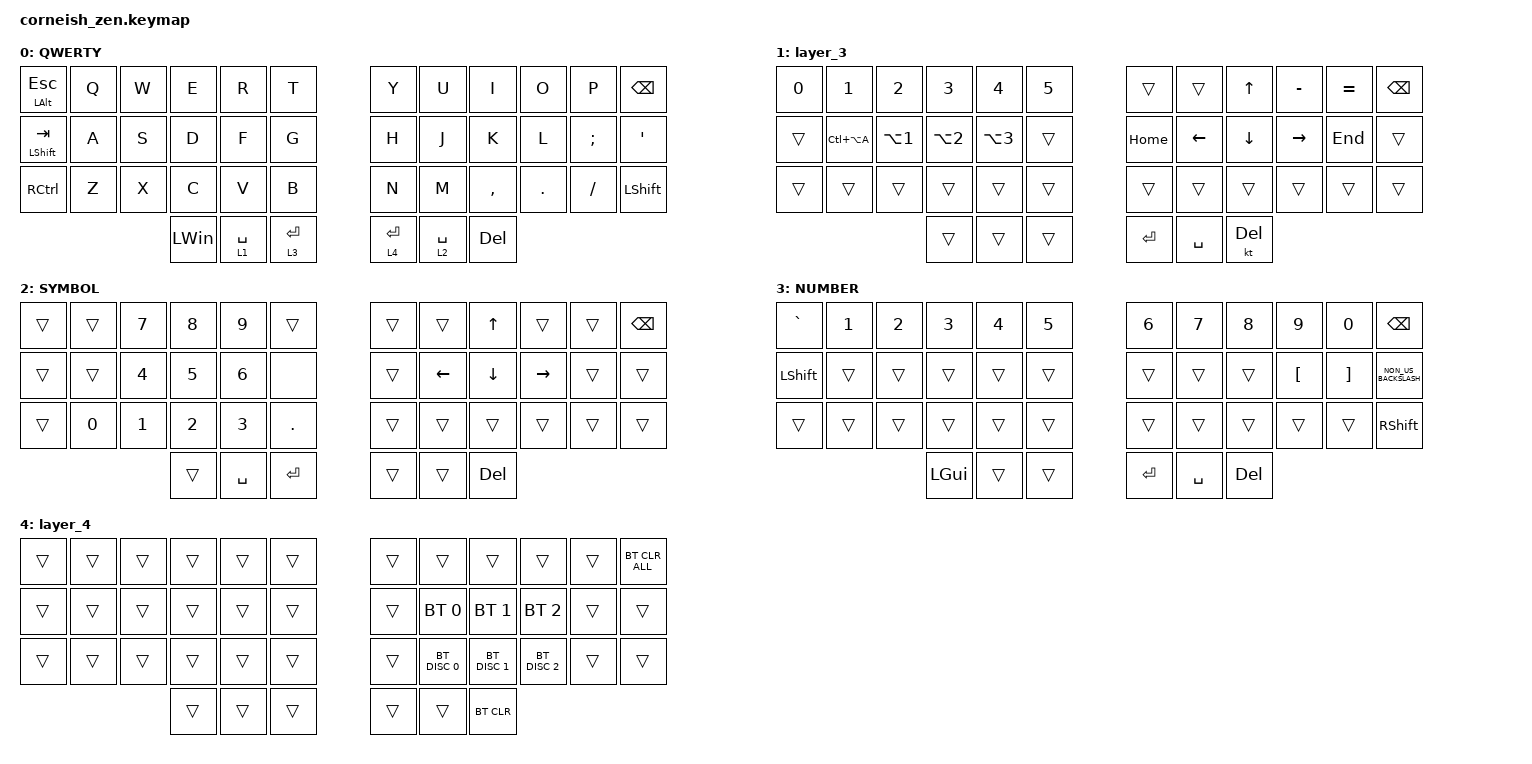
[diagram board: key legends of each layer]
/*
*
* Copyright (c) 2021 Darryl deHaan
* SPDX-License-Identifier: MIT
*
*/

#include <behaviors.dtsi>
#include <dt-bindings/zmk/bt.h>
#include <dt-bindings/zmk/keys.h>
#include <dt-bindings/zmk/keys.h>

/ {
    chosen {
        zmk,matrix_transform = &default_transform;

        // zmk,matrix_transform = &five_column_transform;
    };
};

/ {
    keymap {
        compatible = "zmk,keymap";

        default_layer {
            display-name = "QWERTY";

            // --------------------------------------------------------------------------------
            // |  TAB |  Q  |  W  |  E  |  R  |  T  |   |  Y  |  U   |  I  |  O  |  P  | BKSP |
            // | CTRL |  A  |  S  |  D  |  F  |  G  |   |  H  |  J   |  K  |  L  |  ;  |  '   |
            // | SHFT |  Z  |  X  |  C  |  V  |  B  |   |  N  |  M   |  ,  |  .  |  /  | ESC  |
            //                    | GUI | LWR | SPC |   | ENT | RSE  | ALT |

            bindings = <
&mt LEFT_ALT ESC    &kp Q  &kp W  &kp E         &kp R        &kp T          &kp Y        &kp U        &kp I      &kp O    &kp P     &kp BSPC
&mt LEFT_SHIFT TAB  &kp A  &kp S  &kp D         &kp F        &kp G          &kp H        &kp J        &kp K      &kp L    &kp SEMI  &kp SQT
&kp RCTRL           &kp Z  &kp X  &kp C         &kp V        &kp B          &kp N        &kp M        &kp COMMA  &kp DOT  &kp FSLH  &kp LEFT_SHIFT
                                  &kp LEFT_WIN  &lt 1 SPACE  &lt 3 ENTER    &lt 4 ENTER  &lt 2 SPACE  &kp DEL
            >;
        };

        layer_3 {
            bindings = <
&kp N0  &kp N1         &kp N2      &kp N3      &kp N4      &kp N5    &trans     &trans     &kp UP      &kp MINUS  &kp EQUAL  &kp BACKSPACE
&trans  &kp LC(LA(A))  &kp LA(N1)  &kp LA(N2)  &kp LA(N3)  &trans    &kp HOME   &kp LEFT   &kp DOWN    &kp RIGHT  &kp END    &trans
&trans  &trans         &trans      &trans      &trans      &trans    &trans     &trans     &trans      &trans     &trans     &trans
                                   &trans      &trans      &trans    &kp ENTER  &kp SPACE  &kt DELETE
            >;
        };

        raise_layer {
            display-name = "SYMBOL";

            // -----------------------------------------------------------------------------------------
            // |  TAB |  !  |  @  |  #  |  $  |  %  |   |  ^  |  &  |  *  |  (  |  )  | BKSP |
            // | CTRL |     |     |     |     |     |   |  -  |  =  |  [  |  ]  |  \  |  `   |
            // | SHFT |     |     |     |     |     |   |  _  |  +  |  {  |  }  | "|" |  ~   |
            //                    | GUI |     | SPC |   | ENT |     | ALT |

            bindings = <
&trans  &trans  &kp N7  &kp N8  &kp N9     &trans       &trans  &trans    &kp UP    &trans     &trans  &kp BACKSPACE
&trans  &trans  &kp N4  &kp N5  &kp N6     &none        &trans  &kp LEFT  &kp DOWN  &kp RIGHT  &trans  &trans
&trans  &kp N0  &kp N1  &kp N2  &kp N3     &kp DOT      &trans  &trans    &trans    &trans     &trans  &trans
                        &trans  &kp SPACE  &kp ENTER    &trans  &trans    &kp DEL
            >;
        };

        lower_layer {
            display-name = "NUMBER";

            // -----------------------------------------------------------------------------------------
            // |  TAB |  1  |  2  |  3  |  4  |  5  |   |  6  |  7  |  8  |  9  |  0  | BKSP |
            // | BTCLR| BT1 | BT2 | BT3 | BT4 | BT5 |   | LFT | DWN |  UP | RGT |     |      |
            // | SHFT |     |     |     |     |     |   |     |     |     |     |     |      |
            //                    | GUI |     | SPC |   | ENT |     | ALT |

            bindings = <
&kp GRAVE   &kp N1  &kp N2  &kp N3    &kp N4  &kp N5    &kp N6   &kp N7     &kp N8   &kp N9            &kp N0             &kp BACKSPACE
&kp LSHIFT  &trans  &trans  &trans    &trans  &trans    &trans   &trans     &trans   &kp LEFT_BRACKET  &kp RIGHT_BRACKET  &kp NON_US_BACKSLASH
&trans      &trans  &trans  &trans    &trans  &trans    &trans   &trans     &trans   &trans            &trans             &kp RSHIFT
                            &kp LGUI  &trans  &trans    &kp RET  &kp SPACE  &kp DEL
            >;
        };

        layer_4 {
            bindings = <
&trans  &trans  &trans  &trans  &trans  &trans    &trans  &trans         &trans         &trans         &trans  &bt BT_CLR_ALL
&trans  &trans  &trans  &trans  &trans  &trans    &trans  &bt BT_SEL 0   &bt BT_SEL 1   &bt BT_SEL 2   &trans  &trans
&trans  &trans  &trans  &trans  &trans  &trans    &trans  &bt BT_DISC 0  &bt BT_DISC 1  &bt BT_DISC 2  &trans  &trans
                        &trans  &trans  &trans    &trans  &trans         &bt BT_CLR
            >;
        };
    };
};
